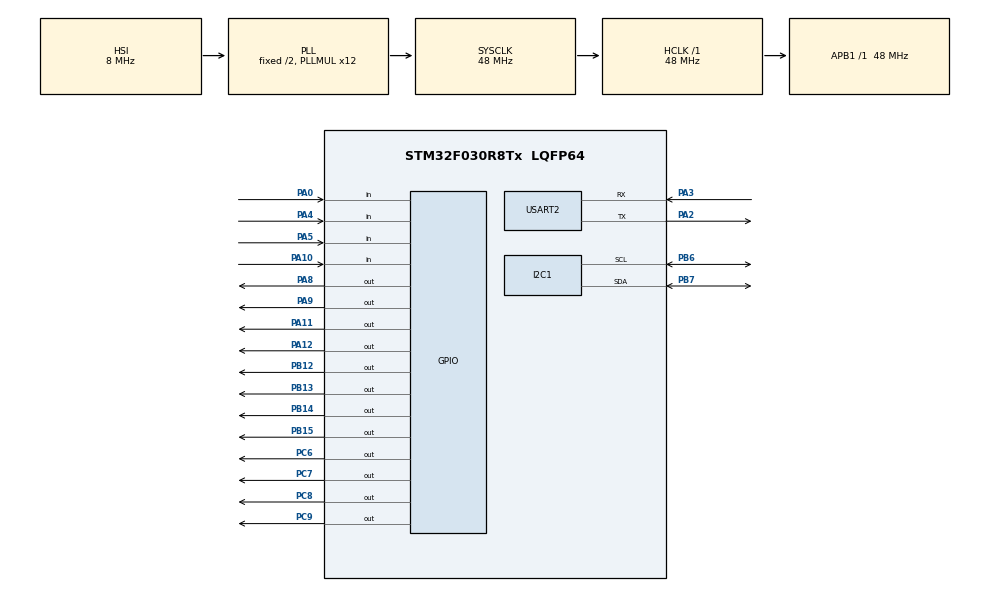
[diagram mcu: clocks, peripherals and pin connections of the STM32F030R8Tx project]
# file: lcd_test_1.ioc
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Dma.I2C1_RX.0.Direction=DMA_PERIPH_TO_MEMORY
Dma.I2C1_RX.0.Instance=DMA1_Channel3
Dma.I2C1_RX.0.MemDataAlignment=DMA_MDATAALIGN_BYTE
Dma.I2C1_RX.0.MemInc=DMA_MINC_ENABLE
Dma.I2C1_RX.0.Mode=DMA_NORMAL
Dma.I2C1_RX.0.PeriphDataAlignment=DMA_PDATAALIGN_BYTE
Dma.I2C1_RX.0.PeriphInc=DMA_PINC_DISABLE
Dma.I2C1_RX.0.Priority=DMA_PRIORITY_LOW
Dma.I2C1_TX.1.Direction=DMA_MEMORY_TO_PERIPH
Dma.I2C1_TX.1.Instance=DMA1_Channel2
Dma.I2C1_TX.1.MemDataAlignment=DMA_MDATAALIGN_BYTE
Dma.I2C1_TX.1.MemInc=DMA_MINC_ENABLE
Dma.I2C1_TX.1.Mode=DMA_NORMAL
Dma.I2C1_TX.1.PeriphDataAlignment=DMA_PDATAALIGN_BYTE
Dma.I2C1_TX.1.PeriphInc=DMA_PINC_DISABLE
Dma.I2C1_TX.1.Priority=DMA_PRIORITY_LOW
Dma.Request0=I2C1_RX
Dma.Request1=I2C1_TX
Dma.Request2=USART2_RX
Dma.Request3=USART2_TX
Dma.USART2_RX.2.Direction=DMA_PERIPH_TO_MEMORY
Dma.USART2_RX.2.Instance=DMA1_Channel5
Dma.USART2_RX.2.MemDataAlignment=DMA_MDATAALIGN_BYTE
Dma.USART2_RX.2.MemInc=DMA_MINC_ENABLE
Dma.USART2_RX.2.Mode=DMA_NORMAL
Dma.USART2_RX.2.PeriphDataAlignment=DMA_PDATAALIGN_BYTE
Dma.USART2_RX.2.PeriphInc=DMA_PINC_DISABLE
Dma.USART2_RX.2.Priority=DMA_PRIORITY_LOW
Dma.USART2_TX.3.Direction=DMA_MEMORY_TO_PERIPH
Dma.USART2_TX.3.Instance=DMA1_Channel4
Dma.USART2_TX.3.MemDataAlignment=DMA_MDATAALIGN_BYTE
Dma.USART2_TX.3.MemInc=DMA_MINC_ENABLE
Dma.USART2_TX.3.Mode=DMA_NORMAL
Dma.USART2_TX.3.PeriphDataAlignment=DMA_PDATAALIGN_BYTE
Dma.USART2_TX.3.PeriphInc=DMA_PINC_DISABLE
Dma.USART2_TX.3.Priority=DMA_PRIORITY_LOW
Mcu.Family=STM32F0
Mcu.Name=STM32F030R8Tx
Mcu.Package=LQFP64
NVIC.DMA1_Channel2_3_IRQn=true\:0\:0\:false\:false\:true\:false\:true\:true
NVIC.DMA1_Channel4_5_IRQn=true\:0\:0\:false\:false\:true\:false\:true\:true
NVIC.I2C1_IRQn=true\:0\:0\:false\:false\:true\:true\:true\:true
NVIC.TIM6_IRQn=true\:0\:0\:false\:false\:true\:true\:true\:true
NVIC.USART2_IRQn=true\:0\:0\:false\:false\:true\:true\:true\:true
PA0.GPIO_PuPd=GPIO_PULLDOWN
PA0.Signal=GPIO_Input
PA10.GPIO_PuPd=GPIO_PULLDOWN
PA10.Signal=GPIO_Input
PA11.Signal=GPIO_Output
PA12.Signal=GPIO_Output
PA13.GPIO_Label=SWDIO
PA13.Mode=Serial_Wire
PA13.Signal=SYS_SWDIO
PA14.GPIO_Label=SWCLK
PA14.Mode=Serial_Wire
PA14.Signal=SYS_SWCLK
PA2.Mode=Asynchronous
PA2.Signal=USART2_TX
PA3.Mode=Asynchronous
PA3.Signal=USART2_RX
PA4.GPIO_PuPd=GPIO_PULLDOWN
PA4.Signal=GPIO_Input
PA5.GPIO_PuPd=GPIO_PULLDOWN
PA5.Signal=GPIO_Input
PA8.Signal=GPIO_Output
PA9.Signal=GPIO_Output
PB12.Signal=GPIO_Output
PB13.Signal=GPIO_Output
PB14.Signal=GPIO_Output
PB15.Signal=GPIO_Output
PB6.Mode=I2C
PB6.Signal=I2C1_SCL
PB7.Mode=I2C
PB7.Signal=I2C1_SDA
PC6.Signal=GPIO_Output
PC7.Signal=GPIO_Output
PC8.Signal=GPIO_Output
PC9.Signal=GPIO_Output
ProjectManager.HeapSize=0x200
ProjectManager.StackSize=0x400
ProjectManager.TargetToolchain=STM32CubeIDE
RCC.AHBFreq_Value=48000000
RCC.APB1Freq_Value=48000000
RCC.APB1TimFreq_Value=48000000
RCC.HCLKFreq_Value=48000000
RCC.PLLMUL=RCC_PLL_MUL12
RCC.SYSCLKFreq_VALUE=48000000
RCC.SYSCLKSource=RCC_SYSCLKSOURCE_PLLCLK
RTC.Date=30
RTC.Format=RTC_FORMAT_BCD
RTC.Hours=16
RTC.Minutes=10
RTC.Month=RTC_MONTH_MARCH
RTC.SynchPrediv=311
RTC.WeekDay=RTC_WEEKDAY_THURSDAY
RTC.Year=23
TIM6.Period=1
TIM6.Prescaler=23999
USART2.VirtualMode-Asynchronous=VM_ASYNC
VP_RTC_VS_RTC_Activate.Mode=RTC_Enabled
VP_RTC_VS_RTC_Calendar.Mode=RTC_Calendar
VP_TIM6_VS_ClockSourceINT.Mode=Enable_Timer
board=STM32F0308-DISCO

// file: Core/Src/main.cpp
/* USER CODE BEGIN Header */

/* USER CODE END Header */
#include <Button.h>
#include <lcd_i2c_lib.h>
#include <main.h>
#include <rtc.h>
#include <menu.h>
#include <Screen.h>
#include <OneColMenuScreen.h>
#include <TwoColMenuScreen.h>
#include <DateTimeScreen.h>
#include <FourColScreen.h>
/* USER CODE END Includes */

I2C_HandleTypeDef hi2c1;
DMA_HandleTypeDef hdma_i2c1_rx;
DMA_HandleTypeDef hdma_i2c1_tx;

RTC_HandleTypeDef hrtc;

TIM_HandleTypeDef htim6;

UART_HandleTypeDef huart2;
DMA_HandleTypeDef hdma_usart2_rx;
DMA_HandleTypeDef hdma_usart2_tx;

/* USER CODE BEGIN PV */
uint8_t uartRx[55] = {0x55,0xAA,  // Контрольные байты (0x55,0xAA)
					  	   50,         // Размер массива
						   0xF8,0xF8,  // Тех. состояние(0-есть плата, 1-нет платы)
						   7,15,  // Порт 1
						   7,15,
						   7,15,  // Порт 2
						   7,15,
						   7,15,  // Порт 3
						   7,15,
						   7,15,  // Порт 4
						   7,15,
						   7,15,  // Порт 5
						   7,15,
						   7,15,  // Порт 6
						   7,15,
						   7,15,  // Порт 7
						   7,15,
						   7,15,  // Порт 8
						   7,15,
						   7,15,  // Порт 9
					  	   7,15,
						   7,15,  // Порт 10
						   7,15,
						   7,15,  // Порт 11
					  	   7,15,
						   7,15,  // Порт 12
						   7,15,
						   7,15}; // Контрольная сумма

char time[10] { };
char date[10] { };

uint8_t flag = 0;

Button downButton(GPIOA, 10, 5);
Button upButton(GPIOA, 4, 5);
Button enterButton(GPIOA, 5, 5);
Button backButton(GPIOA, 0, 5);

/* USER CODE END PV */

void SystemClock_Config(void);
static void MX_GPIO_Init(void);
static void MX_DMA_Init(void);
static void MX_I2C1_Init(void);
static void MX_TIM6_Init(void);
static void MX_USART2_UART_Init(void);
static void MX_RTC_Init(void);

/* USER CODE BEGIN 0 */

/* Функция прерывания по окончанию передачи по i2c */
void HAL_I2C_MasterTxCpltCallback(I2C_HandleTypeDef *hi2c) {

}
/* Функция прерывания по окончанию передачи по uart */
void HAL_UART_TxCpltCallback(UART_HandleTypeDef *huart) {

}
/* USER CODE END 0 */

int main(void)
{

  /* MCU Configuration--------------------------------------------------------*/

  /* Reset of all peripherals, Initializes the Flash interface and the Systick. */
  HAL_Init();

  /* Configure the system clock */
  SystemClock_Config();

  /* Initialize all configured peripherals */
  MX_GPIO_Init();
  MX_DMA_Init();
  MX_I2C1_Init();
  MX_TIM6_Init();
  MX_USART2_UART_Init();
  MX_RTC_Init();
  /* USER CODE BEGIN 2 */
  HAL_TIM_Base_Start_IT(&htim6);

  I2CSettings i2cSettings { &hi2c1, 0x4E };
  lcdInit(i2cSettings);
  menuInit();

  Screen* currentScreen = &dateTimeScreen;
  setDateTime();
  currentScreen->show(0);

  /* USER CODE END 2 */

  /* Infinite loop */
  /* USER CODE BEGIN WHILE */
	while (1) {
		if (currentScreen == &dateTimeScreen) {
			getDateTime();
			dateTimeScreen.resetLine(0, time);
			dateTimeScreen.resetLine(1, date);
			currentScreen->show(0);

			if (downButton.clicked() || upButton.clicked() || enterButton.clicked() || backButton.clicked()) {
				currentScreen = currentScreen->selectLine();
				currentScreen->setMenuShift(0);
				currentScreen->setCursorPos(0);
				clearLcd(i2cSettings);
				HAL_Delay(3);
				currentScreen->show(0);
			}

		} else {
			if (downButton.clicked()) {
				currentScreen->cursorDown();
			} else if (upButton.clicked()) {
				currentScreen->cursorUp();
			} else if (enterButton.clicked()) {
				if (currentScreen != &portStateScreen) {
					currentScreen = currentScreen->selectLine();
					currentScreen->setMenuShift(0);
					currentScreen->setCursorPos(0);
					clearLcd(i2cSettings);
					HAL_Delay(3);
					currentScreen->show(0);
				}
			} else if (backButton.clicked()) {
				currentScreen = currentScreen->getParent();
				clearLcd(i2cSettings);
				HAL_Delay(3);
				if (currentScreen != &dateTimeScreen) {
					currentScreen->show(currentScreen->getMenuShift());
				} else {
					currentScreen->show(0);
				}
			}
		}
		/* USER CODE END WHILE */

	}
	}

void SystemClock_Config(void)
{
  RCC_OscInitTypeDef RCC_OscInitStruct = {0};
  RCC_ClkInitTypeDef RCC_ClkInitStruct = {0};
  RCC_PeriphCLKInitTypeDef PeriphClkInit = {0};

  /** Initializes the RCC Oscillators according to the specified parameters
  * in the RCC_OscInitTypeDef structure.
  */
  RCC_OscInitStruct.OscillatorType = RCC_OSCILLATORTYPE_HSI|RCC_OSCILLATORTYPE_LSI;
  RCC_OscInitStruct.HSIState = RCC_HSI_ON;
  RCC_OscInitStruct.HSICalibrationValue = RCC_HSICALIBRATION_DEFAULT;
  RCC_OscInitStruct.LSIState = RCC_LSI_ON;
  RCC_OscInitStruct.PLL.PLLState = RCC_PLL_ON;
  RCC_OscInitStruct.PLL.PLLSource = RCC_PLLSOURCE_HSI;
  RCC_OscInitStruct.PLL.PLLMUL = RCC_PLL_MUL12;
  RCC_OscInitStruct.PLL.PREDIV = RCC_PREDIV_DIV1;
  if (HAL_RCC_OscConfig(&RCC_OscInitStruct) != HAL_OK)
  {
    Error_Handler();
  }

  /** Initializes the CPU, AHB and APB buses clocks
  */
  RCC_ClkInitStruct.ClockType = RCC_CLOCKTYPE_HCLK|RCC_CLOCKTYPE_SYSCLK
                              |RCC_CLOCKTYPE_PCLK1;
  RCC_ClkInitStruct.SYSCLKSource = RCC_SYSCLKSOURCE_PLLCLK;
  RCC_ClkInitStruct.AHBCLKDivider = RCC_SYSCLK_DIV1;
  RCC_ClkInitStruct.APB1CLKDivider = RCC_HCLK_DIV1;

  if (HAL_RCC_ClockConfig(&RCC_ClkInitStruct, FLASH_LATENCY_1) != HAL_OK)
  {
    Error_Handler();
  }
  PeriphClkInit.PeriphClockSelection = RCC_PERIPHCLK_I2C1|RCC_PERIPHCLK_RTC;
  PeriphClkInit.I2c1ClockSelection = RCC_I2C1CLKSOURCE_HSI;
  PeriphClkInit.RTCClockSelection = RCC_RTCCLKSOURCE_LSI;
  if (HAL_RCCEx_PeriphCLKConfig(&PeriphClkInit) != HAL_OK)
  {
    Error_Handler();
  }
}

static void MX_I2C1_Init(void)
{

  hi2c1.Instance = I2C1;
  hi2c1.Init.Timing = 0x2000090E;
  hi2c1.Init.OwnAddress1 = 0;
  hi2c1.Init.AddressingMode = I2C_ADDRESSINGMODE_7BIT;
  hi2c1.Init.DualAddressMode = I2C_DUALADDRESS_DISABLE;
  hi2c1.Init.OwnAddress2 = 0;
  hi2c1.Init.OwnAddress2Masks = I2C_OA2_NOMASK;
  hi2c1.Init.GeneralCallMode = I2C_GENERALCALL_DISABLE;
  hi2c1.Init.NoStretchMode = I2C_NOSTRETCH_DISABLE;
  if (HAL_I2C_Init(&hi2c1) != HAL_OK)
  {
    Error_Handler();
  }

  /** Configure Analogue filter
  */
  if (HAL_I2CEx_ConfigAnalogFilter(&hi2c1, I2C_ANALOGFILTER_ENABLE) != HAL_OK)
  {
    Error_Handler();
  }

  /** Configure Digital filter
  */
  if (HAL_I2CEx_ConfigDigitalFilter(&hi2c1, 0) != HAL_OK)
  {
    Error_Handler();
  }

}

static void MX_RTC_Init(void)
{

  RTC_TimeTypeDef sTime = {0};
  RTC_DateTypeDef sDate = {0};

  /** Initialize RTC Only
  */
  hrtc.Instance = RTC;
  hrtc.Init.HourFormat = RTC_HOURFORMAT_24;
  hrtc.Init.AsynchPrediv = 127;
  hrtc.Init.SynchPrediv = 311;
  hrtc.Init.OutPut = RTC_OUTPUT_DISABLE;
  hrtc.Init.OutPutPolarity = RTC_OUTPUT_POLARITY_HIGH;
  hrtc.Init.OutPutType = RTC_OUTPUT_TYPE_OPENDRAIN;
  if (HAL_RTC_Init(&hrtc) != HAL_OK)
  {
    Error_Handler();
  }

  /** Initialize RTC and set the Time and Date
  */
  sTime.Hours = 0x16;
  sTime.Minutes = 0x10;
  sTime.Seconds = 0x0;
  sTime.DayLightSaving = RTC_DAYLIGHTSAVING_NONE;
  sTime.StoreOperation = RTC_STOREOPERATION_RESET;
  if (HAL_RTC_SetTime(&hrtc, &sTime, RTC_FORMAT_BCD) != HAL_OK)
  {
    Error_Handler();
  }
  sDate.WeekDay = RTC_WEEKDAY_THURSDAY;
  sDate.Month = RTC_MONTH_MARCH;
  sDate.Date = 0x30;
  sDate.Year = 0x23;

  if (HAL_RTC_SetDate(&hrtc, &sDate, RTC_FORMAT_BCD) != HAL_OK)
  {
    Error_Handler();
  }

}

static void MX_TIM6_Init(void)
{

  htim6.Instance = TIM6;
  htim6.Init.Prescaler = 23999;
  htim6.Init.CounterMode = TIM_COUNTERMODE_UP;
  htim6.Init.Period = 1;
  htim6.Init.AutoReloadPreload = TIM_AUTORELOAD_PRELOAD_DISABLE;
  if (HAL_TIM_Base_Init(&htim6) != HAL_OK)
  {
    Error_Handler();
  }

}

static void MX_USART2_UART_Init(void)
{

  huart2.Instance = USART2;
  huart2.Init.BaudRate = 38400;
  huart2.Init.WordLength = UART_WORDLENGTH_8B;
  huart2.Init.StopBits = UART_STOPBITS_1;
  huart2.Init.Parity = UART_PARITY_NONE;
  huart2.Init.Mode = UART_MODE_TX_RX;
  huart2.Init.HwFlowCtl = UART_HWCONTROL_NONE;
  huart2.Init.OverSampling = UART_OVERSAMPLING_16;
  huart2.Init.OneBitSampling = UART_ONE_BIT_SAMPLE_DISABLE;
  huart2.AdvancedInit.AdvFeatureInit = UART_ADVFEATURE_NO_INIT;
  if (HAL_UART_Init(&huart2) != HAL_OK)
  {
    Error_Handler();
  }

}

static void MX_DMA_Init(void)
{

  /* DMA controller clock enable */
  __HAL_RCC_DMA1_CLK_ENABLE();

  /* DMA interrupt init */
  /* DMA1_Channel2_3_IRQn interrupt configuration */
  HAL_NVIC_SetPriority(DMA1_Channel2_3_IRQn, 0, 0);
  HAL_NVIC_EnableIRQ(DMA1_Channel2_3_IRQn);
  /* DMA1_Channel4_5_IRQn interrupt configuration */
  HAL_NVIC_SetPriority(DMA1_Channel4_5_IRQn, 0, 0);
  HAL_NVIC_EnableIRQ(DMA1_Channel4_5_IRQn);

}

static void MX_GPIO_Init(void)
{
  GPIO_InitTypeDef GPIO_InitStruct = {0};

  /* GPIO Ports Clock Enable */
  __HAL_RCC_GPIOA_CLK_ENABLE();
  __HAL_RCC_GPIOB_CLK_ENABLE();
  __HAL_RCC_GPIOC_CLK_ENABLE();

  /*Configure GPIO pin Output Level */
  HAL_GPIO_WritePin(GPIOB, GPIO_PIN_12|GPIO_PIN_13|GPIO_PIN_14|GPIO_PIN_15, GPIO_PIN_RESET);

  /*Configure GPIO pin Output Level */
  HAL_GPIO_WritePin(GPIOC, GPIO_PIN_6|GPIO_PIN_7|GPIO_PIN_8|GPIO_PIN_9, GPIO_PIN_RESET);

  /*Configure GPIO pin Output Level */
  HAL_GPIO_WritePin(GPIOA, GPIO_PIN_8|GPIO_PIN_9|GPIO_PIN_11|GPIO_PIN_12, GPIO_PIN_RESET);

  /*Configure GPIO pins : PA0 PA4 PA5 PA10 */
  GPIO_InitStruct.Pin = GPIO_PIN_0|GPIO_PIN_4|GPIO_PIN_5|GPIO_PIN_10;
  GPIO_InitStruct.Mode = GPIO_MODE_INPUT;
  GPIO_InitStruct.Pull = GPIO_PULLDOWN;
  HAL_GPIO_Init(GPIOA, &GPIO_InitStruct);

  /*Configure GPIO pins : PB12 PB13 PB14 PB15 */
  GPIO_InitStruct.Pin = GPIO_PIN_12|GPIO_PIN_13|GPIO_PIN_14|GPIO_PIN_15;
  GPIO_InitStruct.Mode = GPIO_MODE_OUTPUT_PP;
  GPIO_InitStruct.Pull = GPIO_NOPULL;
  GPIO_InitStruct.Speed = GPIO_SPEED_FREQ_LOW;
  HAL_GPIO_Init(GPIOB, &GPIO_InitStruct);

  /*Configure GPIO pins : PC6 PC7 PC8 PC9 */
  GPIO_InitStruct.Pin = GPIO_PIN_6|GPIO_PIN_7|GPIO_PIN_8|GPIO_PIN_9;
  GPIO_InitStruct.Mode = GPIO_MODE_OUTPUT_PP;
  GPIO_InitStruct.Pull = GPIO_NOPULL;
  GPIO_InitStruct.Speed = GPIO_SPEED_FREQ_LOW;
  HAL_GPIO_Init(GPIOC, &GPIO_InitStruct);

  /*Configure GPIO pins : PA8 PA9 PA11 PA12 */
  GPIO_InitStruct.Pin = GPIO_PIN_8|GPIO_PIN_9|GPIO_PIN_11|GPIO_PIN_12;
  GPIO_InitStruct.Mode = GPIO_MODE_OUTPUT_PP;
  GPIO_InitStruct.Pull = GPIO_NOPULL;
  GPIO_InitStruct.Speed = GPIO_SPEED_FREQ_LOW;
  HAL_GPIO_Init(GPIOA, &GPIO_InitStruct);

}

void Error_Handler(void)
{
  __disable_irq();
  while (1)
  {
  }
}
